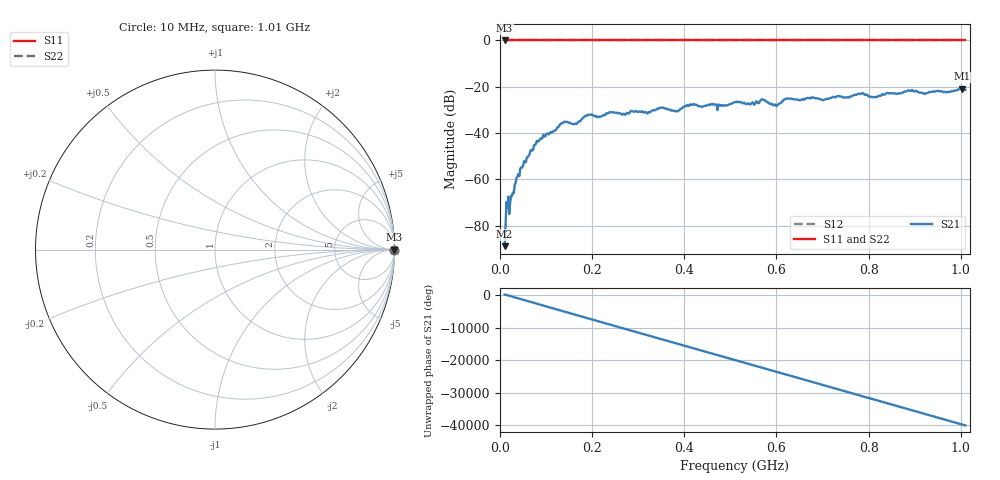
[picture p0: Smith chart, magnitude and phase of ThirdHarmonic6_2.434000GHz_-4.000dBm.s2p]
! 8/17/2025 4:14:07 AM
! C:\ANRITSUVNA\TEMP\TEMP.S2P
! CHANNEL.1
! TR.MEASUREMENT
! RAW.DATA
! RF.CORRECTION.OFF
! AVERAGING.OFF
! IF.BANDWIDTH: 5KHZ
! SWEEPTYPE:  FREQ.SWEEP(Linear)
! Reference Plane Port Info
! PORT:  PORT1  PORT2
! DISTANCE:  0  m  0  m
! TIME:  0  s  0  s
! PHASE.OFFSET:  0  deg.  0  deg.
! LOSS:  0  dB  0  dB
! REF.LOSS:  0  dB  0  dB
! REF.FREQ:  0  Hz  0  Hz
! Power Info
! POWER:  -20  dBm  -20  dBm
! EFF.POWER:  -20  dBm  -20  dBm
! SOURCE.ATTEN:  0  dB  0  dB
! TEST.ATTEN:  0  dB  0  dB
# GHZ S RI R 50.0
! FREQ.GHZ  S11RE  S11IM  S21RE  S21IM  S12RE  S12IM  S22RE  S22IM
!; PortSelection: Port_12
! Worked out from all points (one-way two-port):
!   501 points, 10 MHz to 1.01 GHz, reference 50 ohm
!   highest |S21| = -20.80 dB at 1.002 GHz (marker M1); lowest = -88.8 dB at 10 MHz (marker M2)
!   lowest |S11| = 0.0 dB at 10 MHz (marker M3)
!   |S11| at or under -10 dB: nowhere
!   |S22| runs from 0.0 to 0.0 dB; largest |S21 - S12| = 1.1
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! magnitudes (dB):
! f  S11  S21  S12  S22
! 10 MHz  0.0  -88.8  0.0  0.0
! 18 MHz  0.0  -67.4  0.0  0.0
! 24 MHz  0.0  -67.2  0.0  0.0
! 36 MHz  0.0  -59.3  0.0  0.0
! 78 MHz  0.0  -44.6  0.0  0.0
! 136 MHz  0.0  -35.7  0.0  0.0
! 164 MHz  0.0  -36.0  0.0  0.0
! 178 MHz  0.0  -33.9  0.0  0.0
! 194 MHz  0.0  -32.1  0.0  0.0
! 322 MHz  0.0  -31.1  0.0  0.0
! 344 MHz  0.0  -29.5  0.0  0.0
! 384 MHz  0.0  -30.6  0.0  0.0
! 416 MHz  0.0  -27.9  0.0  0.0
! 510 MHz  0.0  -26.6  0.0  0.0
! 570 MHz  0.0  -25.4  0.0  0.0
! 596 MHz  0.0  -27.6  0.0  0.0
! 622 MHz  0.0  -25.1  0.0  0.0
! 678 MHz  0.0  -24.6  0.0  0.0
! 814 MHz  0.0  -24.4  0.0  0.0
! 844 MHz  0.0  -22.8  0.0  0.0
! 1.002 GHz  0.0  -20.8  0.0  0.0
! 1.01 GHz  0.0  -21.3  0.0  0.0
